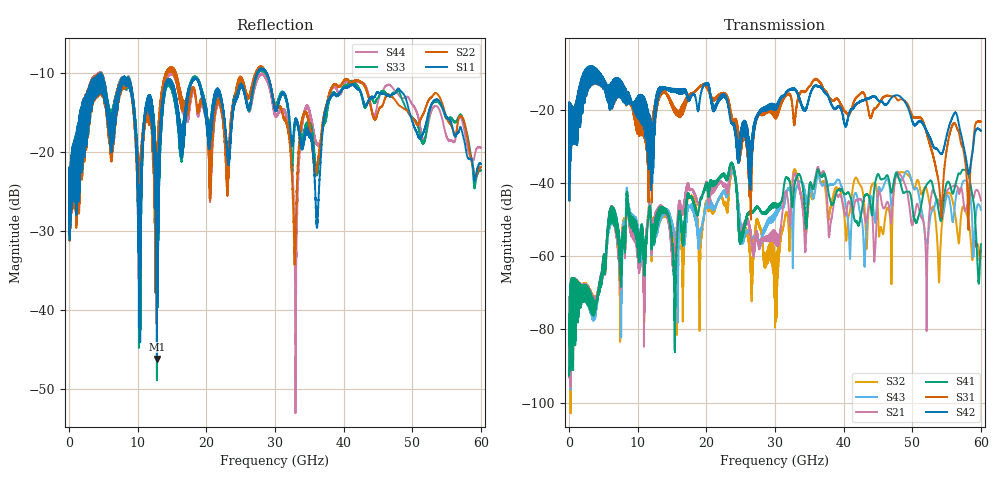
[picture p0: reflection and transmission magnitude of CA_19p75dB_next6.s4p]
!4 port subset of full cascaded channels using these ports:57 37 58 38
# Hz S RI R 50
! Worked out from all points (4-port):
!   6000 points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, 10 MHz to 60 GHz, reference 50 ohm
!   strongest paths, dB at 10 MHz, 15.01 GHz, 30.01 GHz, 45.01 GHz, 60 GHz:
!     S42: -21.9, -14.4, -18.7, -17.3, -25.7
!     S31: -21.9, -18.2, -20.5, -18.8, -23.2
!     S41: -90.6, -55.4, -45.5, -37.5, -56.7
!     S21: -90.7, -58.6, -56.2, -43.5, -44.8
!     S43: -90.6, -50.7, -48.1, -42.1, -47.3
!     S32: -90.7, -53.1, -79.5, -47.9, -57.3
!   lowest |S11| = -46.2 dB at 12.8 GHz (marker M1), VSWR 1.01, Z = 49.8 - j0.423 ohm
!   |S11| at or under -10 dB: start of sweep to 27.38 GHz; 27.39812 GHz to 27.42011 GHz (21.99 MHz wide, 0.0802 % of centre); 28.8 GHz to end of sweep
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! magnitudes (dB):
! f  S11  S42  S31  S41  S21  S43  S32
! 10 MHz  -24.0  -21.9  -21.9  -90.6  -90.7  -90.6  -90.7
! 12.8 GHz  -46.2  -18.1  -19.3  -51.8  -50.7  -53.2  -52.5
! 15.39 GHz  -12.0  -15.0  -20.4  -78.8  -60.9  -54.3  -57.4
! 23.66 GHz  -16.4  -23.6  -21.2  -34.9  -35.9  -36.9  -37.7
! 30.09 GHz  -14.8  -20.1  -22.4  -46.6  -53.6  -49.1  -61.3
! 57.57 GHz  -18.5  -30.8  -32.4  -36.4  -46.8  -39.3  -46.9
! 60 GHz  -21.5  -25.7  -23.2  -56.7  -44.8  -47.3  -57.3
